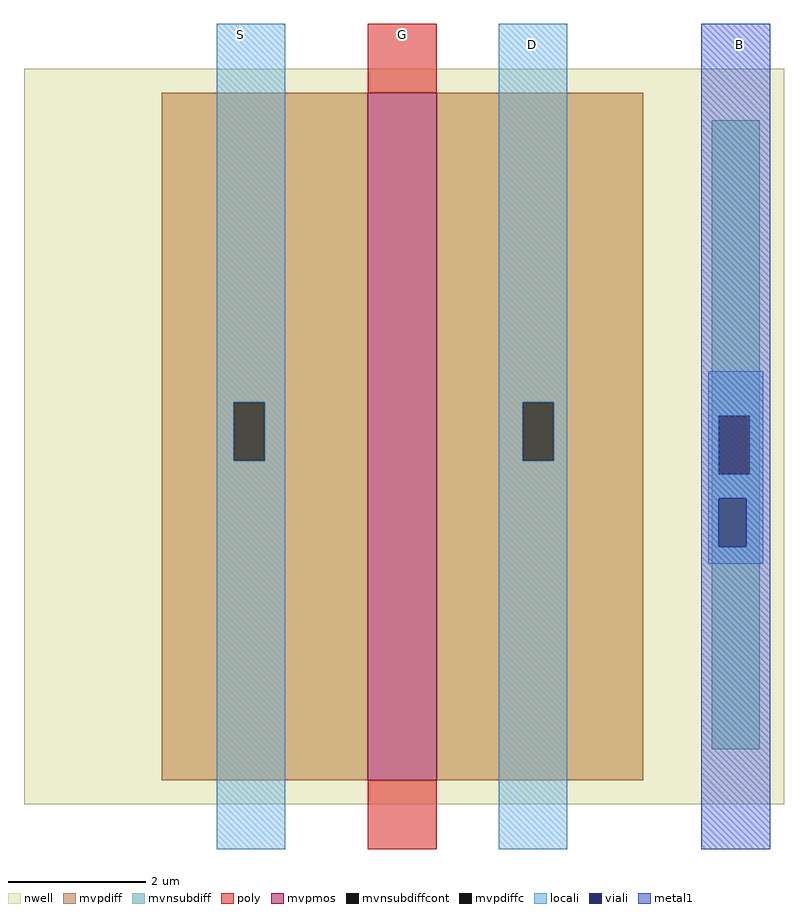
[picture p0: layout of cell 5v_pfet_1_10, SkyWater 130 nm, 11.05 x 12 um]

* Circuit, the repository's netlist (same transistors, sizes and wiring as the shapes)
* NGSPICE file created from 5v_pfet_1_10.ext - technology: sky130A

.subckt x5v_pfet_1_10 S G D B
X0 D G S B sky130_fd_pr__pfet_g5v0d10v5 ad=30 pd=26 as=30 ps=26 w=10 l=1
.ends

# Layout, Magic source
magic
tech sky130A
<< nwell >>
rect -500 -35 605 1035
<< mvpmos >>
rect 0 0 100 1000
<< mvpdiff >>
rect -300 550 0 1000
rect -300 465 -195 550
rect -150 465 0 550
rect -300 0 0 465
rect 100 550 400 1000
rect 100 465 225 550
rect 270 465 400 550
rect 100 0 400 465
<< mvpdiffc >>
rect -195 465 -150 550
rect 225 465 270 550
<< mvnsubdiff >>
rect 500 530 570 960
rect 500 445 510 530
rect 555 445 570 530
rect 500 45 570 445
<< mvnsubdiffcont >>
rect 510 445 555 530
<< poly >>
rect 0 1000 100 1100
rect 0 -100 100 0
<< locali >>
rect -220 550 -120 1100
rect -220 465 -195 550
rect -150 465 -120 550
rect -220 -100 -120 465
rect 190 550 290 1100
rect 190 465 225 550
rect 270 465 290 550
rect 190 -100 290 465
rect 495 530 575 595
rect 495 445 510 530
rect 555 445 575 530
rect 495 410 575 445
rect 495 340 510 410
rect 550 340 575 410
rect 495 315 575 340
<< viali >>
rect 510 340 550 410
<< metal1 >>
rect 485 410 585 1100
rect 485 340 510 410
rect 550 340 585 410
rect 485 -100 585 340
<< labels >>
rlabel locali -185 1085 -185 1085 1 S
port 1 n
rlabel poly 50 1085 50 1085 1 G
port 2 n
rlabel locali 240 1070 240 1070 1 D
port 3 n
rlabel metal1 540 1070 540 1070 1 B
port 4 n
<< end >>
